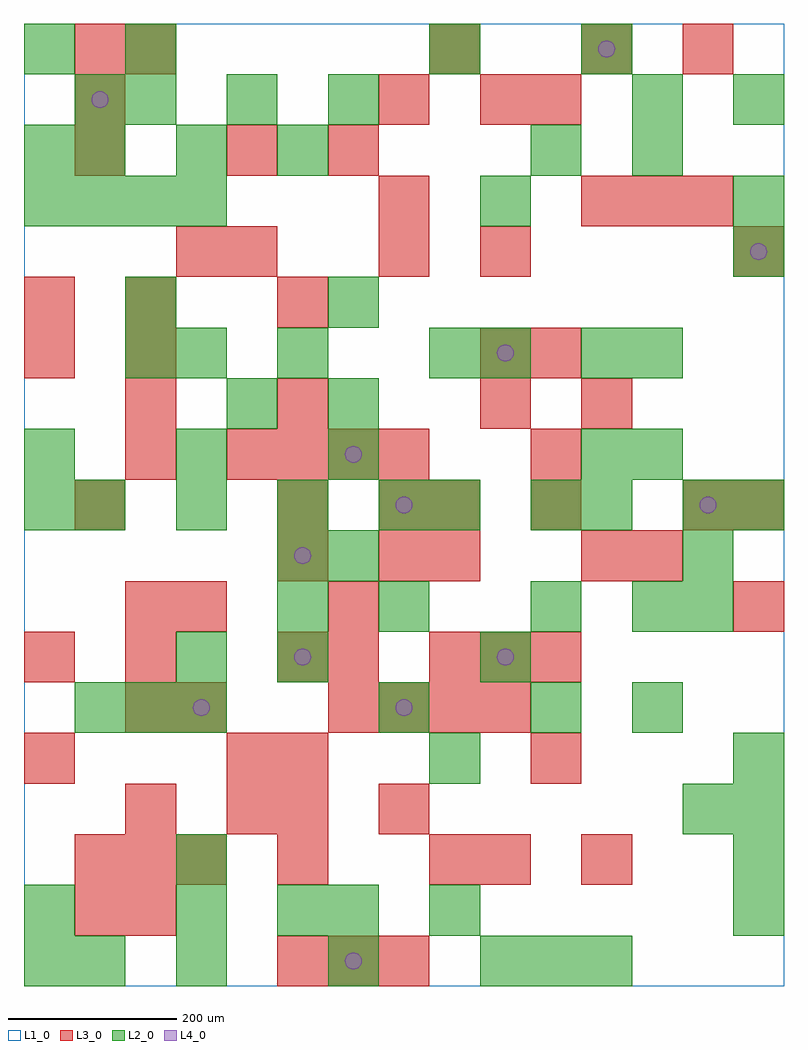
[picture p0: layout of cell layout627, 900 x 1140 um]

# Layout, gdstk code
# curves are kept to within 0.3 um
import gdstk
lib = gdstk.Library(unit=1e-6, precision=1e-09)
def R(c, l, rs):  # rectangles x0, y0, x1, y1
    for r in rs: c.add(gdstk.rectangle(r[:2], r[2:], *l))
def A(c, l, x, y, w, h, nx, ny, dx, dy):  # array of equal rectangles
    R(c, l, [(x+i*dx, y+j*dy, x+i*dx+w, y+j*dy+h) for i in range(nx) for j in range(ny)])
def P(c, l, *ps):  # polygons
    for p in ps: c.add(gdstk.Polygon(p, *l))
L1_0 = (1, 0)
L2_0 = (2, 0)
L3_0 = (3, 0)
L4_0 = (4, 0)

layout627 = lib.new_cell('layout627')
R(layout627, L1_0, [(0,0,900,1140)])
A(layout627, L2_0, 180, 0, 60, 60, 3, 1, 180, 0)
A(layout627, L2_0, 840, 60, 60, 60, 1, 4, 0, 60)
A(layout627, L2_0, 60, 300, 60, 60, 3, 1, 60, 0)
A(layout627, L2_0, 600, 300, 60, 60, 1, 3, 0, 120)
A(layout627, L2_0, 300, 360, 60, 60, 1, 3, 0, 60)
A(layout627, L2_0, 780, 420, 60, 60, 1, 3, 0, 60)
A(layout627, L2_0, 60, 540, 60, 60, 4, 1, 120, 0)
A(layout627, L2_0, 0, 600, 60, 60, 3, 1, 180, 0)
A(layout627, L2_0, 0, 900, 60, 60, 4, 1, 60, 0)
A(layout627, L2_0, 60, 960, 60, 60, 3, 1, 120, 0)
A(layout627, L2_0, 120, 1020, 60, 60, 3, 1, 120, 0)
R(layout627, L2_0, [(0,0,60,60), (60,0,120,60), (600,0,660,60), (660,0,720,60), (0,60,60,120), (180,60,240,120), (300,60,360,120), (360,60,420,120), (480,60,540,120), (180,120,240,180), (780,180,840,240), (480,240,540,300), (420,300,480,360), (720,300,780,360), (180,360,240,420), (540,360,600,420), (420,420,480,480), (720,420,780,480), (360,480,420,540), (0,540,60,600), (480,540,540,600), (660,540,720,600), (840,540,900,600), (660,600,720,660), (720,600,780,660), (240,660,300,720), (360,660,420,720), (120,720,180,780), (180,720,240,780), (300,720,360,780), (480,720,540,780), (540,720,600,780), (660,720,720,780), (720,720,780,780), (120,780,180,840), (360,780,420,840), (840,840,900,900), (540,900,600,960), (840,900,900,960), (0,960,60,1020), (600,960,660,1020), (720,960,780,1020), (60,1020,120,1080), (720,1020,780,1080), (840,1020,900,1080), (0,1080,60,1140), (120,1080,180,1140), (480,1080,540,1140), (660,1080,720,1140)])
A(layout627, L3_0, 300, 0, 60, 60, 3, 1, 60, 0)
A(layout627, L3_0, 120, 60, 60, 60, 1, 3, 0, 120)
A(layout627, L3_0, 60, 120, 60, 60, 3, 1, 60, 0)
A(layout627, L3_0, 300, 120, 60, 60, 1, 3, 0, 60)
A(layout627, L3_0, 360, 300, 60, 60, 4, 1, 60, 0)
A(layout627, L3_0, 480, 360, 60, 60, 3, 1, 60, 0)
A(layout627, L3_0, 300, 540, 60, 60, 1, 3, 0, 120)
A(layout627, L3_0, 120, 600, 60, 60, 1, 4, 0, 60)
A(layout627, L3_0, 240, 600, 60, 60, 4, 1, 60, 0)
A(layout627, L3_0, 660, 900, 60, 60, 3, 1, 60, 0)
A(layout627, L3_0, 60, 960, 60, 60, 1, 3, 0, 60)
R(layout627, L3_0, [(60,60,120,120), (480,120,540,180), (540,120,600,180), (660,120,720,180), (240,180,300,240), (420,180,480,240), (0,240,60,300), (240,240,300,300), (600,240,660,300), (180,300,240,360), (0,360,60,420), (120,360,180,420), (300,360,360,420), (360,360,420,420), (120,420,180,480), (180,420,240,480), (360,420,420,480), (840,420,900,480), (300,480,360,540), (420,480,480,540), (480,480,540,540), (660,480,720,540), (720,480,780,540), (60,540,120,600), (420,540,480,600), (480,540,540,600), (600,540,660,600), (780,540,840,600), (840,540,900,600), (600,600,660,660), (540,660,600,720), (660,660,720,720), (0,720,60,780), (540,720,600,780), (600,720,660,780), (0,780,60,840), (180,840,240,900), (240,840,300,900), (420,840,480,900), (540,840,600,900), (840,840,900,900), (420,900,480,960), (240,960,300,1020), (360,960,420,1020), (420,1020,480,1080), (540,1020,600,1080), (600,1020,660,1080), (120,1080,180,1140), (480,1080,540,1140), (660,1080,720,1140), (780,1080,840,1140)])
P(layout627, L4_0, [(100,1050),(99.239,1053.827),(97.071,1057.071),(93.827,1059.239),(90,1060),(86.173,1059.239),(82.929,1057.071),(80.761,1053.827),(80,1050),(80.761,1046.173),(82.929,1042.929),(86.173,1040.761),(90,1040),(93.827,1040.761),(97.071,1042.929),(99.239,1046.173)],
  [(220,330),(219.239,333.827),(217.071,337.071),(213.827,339.239),(210,340),(206.173,339.239),(202.929,337.071),(200.761,333.827),(200,330),(200.761,326.173),(202.929,322.929),(206.173,320.761),(210,320),(213.827,320.761),(217.071,322.929),(219.239,326.173)],
  [(340,390),(339.239,393.827),(337.071,397.071),(333.827,399.239),(330,400),(326.173,399.239),(322.929,397.071),(320.761,393.827),(320,390),(320.761,386.173),(322.929,382.929),(326.173,380.761),(330,380),(333.827,380.761),(337.071,382.929),(339.239,386.173)],
  [(340,510),(339.239,513.827),(337.071,517.071),(333.827,519.239),(330,520),(326.173,519.239),(322.929,517.071),(320.761,513.827),(320,510),(320.761,506.173),(322.929,502.929),(326.173,500.761),(330,500),(333.827,500.761),(337.071,502.929),(339.239,506.173)],
  [(400,30),(399.239,33.827),(397.071,37.071),(393.827,39.239),(390,40),(386.173,39.239),(382.929,37.071),(380.761,33.827),(380,30),(380.761,26.173),(382.929,22.929),(386.173,20.761),(390,20),(393.827,20.761),(397.071,22.929),(399.239,26.173)],
  [(400,630),(399.239,633.827),(397.071,637.071),(393.827,639.239),(390,640),(386.173,639.239),(382.929,637.071),(380.761,633.827),(380,630),(380.761,626.173),(382.929,622.929),(386.173,620.761),(390,620),(393.827,620.761),(397.071,622.929),(399.239,626.173)],
  [(460,330),(459.239,333.827),(457.071,337.071),(453.827,339.239),(450,340),(446.173,339.239),(442.929,337.071),(440.761,333.827),(440,330),(440.761,326.173),(442.929,322.929),(446.173,320.761),(450,320),(453.827,320.761),(457.071,322.929),(459.239,326.173)],
  [(460,570),(459.239,573.827),(457.071,577.071),(453.827,579.239),(450,580),(446.173,579.239),(442.929,577.071),(440.761,573.827),(440,570),(440.761,566.173),(442.929,562.929),(446.173,560.761),(450,560),(453.827,560.761),(457.071,562.929),(459.239,566.173)],
  [(580,390),(579.239,393.827),(577.071,397.071),(573.827,399.239),(570,400),(566.173,399.239),(562.929,397.071),(560.761,393.827),(560,390),(560.761,386.173),(562.929,382.929),(566.173,380.761),(570,380),(573.827,380.761),(577.071,382.929),(579.239,386.173)],
  [(580,750),(579.239,753.827),(577.071,757.071),(573.827,759.239),(570,760),(566.173,759.239),(562.929,757.071),(560.761,753.827),(560,750),(560.761,746.173),(562.929,742.929),(566.173,740.761),(570,740),(573.827,740.761),(577.071,742.929),(579.239,746.173)],
  [(700,1110),(699.239,1113.827),(697.071,1117.071),(693.827,1119.239),(690,1120),(686.173,1119.239),(682.929,1117.071),(680.761,1113.827),(680,1110),(680.761,1106.173),(682.929,1102.929),(686.173,1100.761),(690,1100),(693.827,1100.761),(697.071,1102.929),(699.239,1106.173)],
  [(820,570),(819.239,573.827),(817.071,577.071),(813.827,579.239),(810,580),(806.173,579.239),(802.929,577.071),(800.761,573.827),(800,570),(800.761,566.173),(802.929,562.929),(806.173,560.761),(810,560),(813.827,560.761),(817.071,562.929),(819.239,566.173)],
  [(880,870),(879.239,873.827),(877.071,877.071),(873.827,879.239),(870,880),(866.173,879.239),(862.929,877.071),(860.761,873.827),(860,870),(860.761,866.173),(862.929,862.929),(866.173,860.761),(870,860),(873.827,860.761),(877.071,862.929),(879.239,866.173)])

lib.write_gds('layout627.gds')
